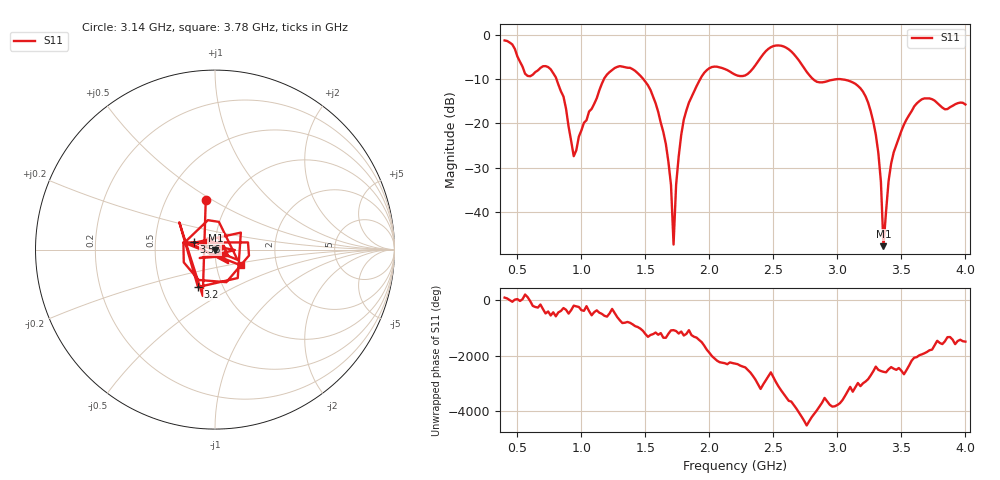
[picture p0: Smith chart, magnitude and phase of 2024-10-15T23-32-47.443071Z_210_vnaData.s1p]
! Created with skrf (http://scikit-rf.org).
# Hz S RI R 50.0
!freq ReS11 ImS11
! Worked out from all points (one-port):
!   181 points, 400 MHz to 4 GHz, reference 50 ohm
!   lowest |S11| = -47.8 dB at 3.36 GHz (marker M1), VSWR 1.01, Z = 50.2 - j0.367 ohm
!   |S11| at or under -10 dB: 805.5 MHz to 1.176 GHz (370 MHz wide, 37.4 % of centre); 1.485 GHz to 1.928 GHz (442.6 MHz wide, 25.9 % of centre); 3.036 GHz to end of sweep (the widest 3 of 4)
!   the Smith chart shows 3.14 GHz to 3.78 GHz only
!   S11 on the Smith chart (normalised r, x): 3.14 GHz: 0.78, +0.47; 3.2 GHz: 0.76, -0.34; 3.56 GHz: 0.79, +0.07; 3.78 GHz: 1.32, -0.24
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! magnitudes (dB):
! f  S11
! 400 MHz  -1.2
! 760 MHz  -7.7
! 860 MHz  -13.9
! 940 MHz  -27.4
! 1.18 GHz  -9.7
! 1.3 GHz  -7.0
! 1.58 GHz  -15.4
! 1.68 GHz  -28.7
! 1.7 GHz  -33.9
! 1.72 GHz  -47.4
! 1.74 GHz  -33.8
! 1.76 GHz  -27.5
! 1.82 GHz  -17.1
! 1.94 GHz  -9.3
! 2.2 GHz  -8.9
! 2.5 GHz  -2.5
! 2.66 GHz  -4.3
! 2.84 GHz  -10.6
! 3.1 GHz  -10.5
! 3.14 GHz  -11.0
! 3.2 GHz  -12.8
! 3.32 GHz  -26.7
! 3.34 GHz  -33.2
! 3.36 GHz  -47.8
! 3.42 GHz  -29.1
! 3.56 GHz  -18.1
! 3.78 GHz  -15.4
! 4 GHz  -15.7
